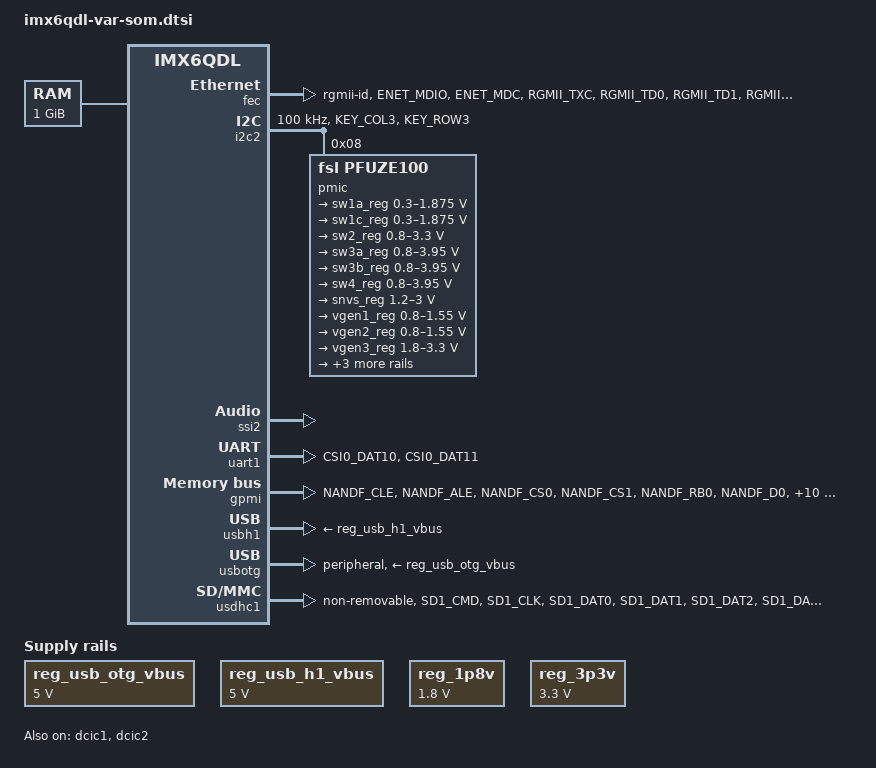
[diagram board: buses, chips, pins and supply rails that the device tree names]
/*
 * Copyright (C) 2015-2023 Variscite Ltd.
 *
 * This program is free software; you can redistribute it and/or modify
 * it under the terms of the GNU General Public License version 2 as
 * published by the Free Software Foundation.
 */

#include <dt-bindings/gpio/gpio.h>
#include <dt-bindings/input/input.h>
#include <dt-bindings/sound/fsl-imx-audmux.h>

/ {
	aliases {
		mxcfb0 = &mxcfb1;
		mxcfb1 = &mxcfb2;
		mxcfb2 = &mxcfb3;
		mxcfb3 = &mxcfb4;
/*
		mmc0 = &usdhc2;
		mmc1 = &usdhc1;
*/
	};

	chosen {
		stdout-path = &uart1;
	};

	memory: memory {
		reg = <0x10000000 0x40000000>;
	};

	regulators {
		compatible = "simple-bus";
		#address-cells = <1>;
		#size-cells = <0>;

		reg_usb_otg_vbus: regulator@0 {
			compatible = "regulator-fixed";
			reg = <0>;
			regulator-name = "usb_otg_vbus";
			regulator-min-microvolt = <5000000>;
			regulator-max-microvolt = <5000000>;
		};

		reg_usb_h1_vbus: regulator@1 {
			compatible = "regulator-fixed";
			reg = <1>;
			regulator-name = "usb_h1_vbus";
			regulator-min-microvolt = <5000000>;
			regulator-max-microvolt = <5000000>;
		};

		reg_1p8v: regulator@2 {
			compatible = "regulator-fixed";
			regulator-name = "1P8V";
			regulator-min-microvolt = <1800000>;
			regulator-max-microvolt = <1800000>;
			regulator-always-on;
		};

		reg_3p3v: regulator@3 {
			compatible = "regulator-fixed";
			regulator-name = "3P3V";
			regulator-min-microvolt = <3300000>;
			regulator-max-microvolt = <3300000>;
			regulator-always-on;
		};
	};

	mxcfb1: fb@0 {
		compatible = "fsl,mxc_sdc_fb";
		disp_dev = "ldb";
		default_bpp = <16>;
		int_clk = <0>;
		late_init = <0>;
		status = "disabled";
	};

	mxcfb2: fb@1 {
		compatible = "fsl,mxc_sdc_fb";
		disp_dev = "hdmi";
		interface_pix_fmt = "RGB24";
		mode_str ="1920x1080M@60";
		default_bpp = <24>;
		int_clk = <0>;
		late_init = <0>;
		status = "disabled";
	};

	mxcfb3: fb@2 {
		compatible = "fsl,mxc_sdc_fb";
		disp_dev = "lcd";
		interface_pix_fmt = "RGB565";
		mode_str ="CLAA-WVGA";
		default_bpp = <16>;
		int_clk = <0>;
		late_init = <0>;
		status = "disabled";
	};

	mxcfb4: fb@3 {
		compatible = "fsl,mxc_sdc_fb";
		disp_dev = "ldb";
		interface_pix_fmt = "RGB666";
		default_bpp = <16>;
		int_clk = <0>;
		late_init = <0>;
		status = "disabled";
	};
};

&reg_arm {
	vin-supply = <&sw1a_reg>;
};

&reg_pu {
	vin-supply = <&sw1c_reg>;
};

&reg_soc {
	vin-supply = <&sw1c_reg>;
};

&clks {
	assigned-clocks = <&clks IMX6QDL_CLK_LDB_DI0_SEL>,
			  <&clks IMX6QDL_CLK_LDB_DI1_SEL>;
	assigned-clock-parents = <&clks IMX6QDL_CLK_PLL2_PFD0_352M>,
				 <&clks IMX6QDL_CLK_PLL2_PFD0_352M>;
};


#if 0
&fec {
	pinctrl-names = "default";
	pinctrl-0 = <&pinctrl_enet_4>;
	phy-mode = "rgmii-id";
	phy-handle = <&ethphy>;
	phy-reset-on-resume;
	status = "okay";

	mdio {
		#address-cells = <1>;
		#size-cells = <0>;

		ethphy: ethernet-phy@7 {
			reg = <7>;
			compatible = "ethernet-phy-ieee802.3-c22";
			assigned-clocks = <&clks IMX6QDL_CLK_ENET_REF>;
			assigned-clock-rates = <125000000>;
			reset-gpios = <&gpio1 25 GPIO_ACTIVE_LOW>;
			reset-assert-us = <100000>;
		};
	};
};
#else
&fec {
	pinctrl-names = "default";
	pinctrl-0 = <&pinctrl_enet_4>;
	phy-mode = "rgmii-id";
	phy-reset-gpios = <&gpio1 25 GPIO_ACTIVE_LOW>;
	status = "okay";
};
#endif
&gpc {
	/* use ldo-bypass, u-boot will check it and configure */
	fsl,ldo-bypass = <1>;
};

&dcic1 {
	dcic_id = <0>;
	dcic_mux = "dcic-hdmi";
	status = "okay";
};

&dcic2 {
	dcic_id = <1>;
	dcic_mux = "dcic-lvds1";
	status = "okay";
};

&i2c2 {
	clock-frequency = <100000>;
	pinctrl-names = "default";
	pinctrl-0 = <&pinctrl_i2c2>;
	status = "okay";

	pmic: pfuze100@8 {
		compatible = "fsl,pfuze100";
		reg = <0x08>;
		pinctrl-names = "default";
		pinctrl-0 = <&pinctrl_pfuze100>;

		regulators {
			sw1a_reg: sw1ab {
				regulator-min-microvolt = <300000>;
				regulator-max-microvolt = <1875000>;
				regulator-boot-on;
				regulator-always-on;
				regulator-ramp-delay = <6250>;
			};

			sw1c_reg: sw1c {
				regulator-min-microvolt = <300000>;
				regulator-max-microvolt = <1875000>;
				regulator-boot-on;
				regulator-always-on;
				regulator-ramp-delay = <6250>;
			};

			sw2_reg: sw2 {
				regulator-min-microvolt = <800000>;
				regulator-max-microvolt = <3300000>;
				regulator-boot-on;
				regulator-always-on;
			};

			sw3a_reg: sw3a {
				regulator-min-microvolt = <800000>;
				regulator-max-microvolt = <3950000>;
				regulator-boot-on;
				regulator-always-on;
			};

			sw3b_reg: sw3b {
				regulator-min-microvolt = <800000>;
				regulator-max-microvolt = <3950000>;
				regulator-boot-on;
				regulator-always-on;
			};

			sw4_reg: sw4 {
				regulator-min-microvolt = <800000>;
				regulator-max-microvolt = <3950000>;
			};

			snvs_reg: vsnvs {
				regulator-min-microvolt = <1200000>;
				regulator-max-microvolt = <3000000>;
				regulator-boot-on;
				regulator-always-on;
			};

			vref_reg: vrefddr {
				regulator-boot-on;
				regulator-always-on;
			};

			vgen1_reg: vgen1 {
				regulator-min-microvolt = <800000>;
				regulator-max-microvolt = <1550000>;
			};

			vgen2_reg: vgen2 {
				regulator-min-microvolt = <800000>;
				regulator-max-microvolt = <1550000>;
			};

			vgen3_reg: vgen3 {
				regulator-min-microvolt = <1800000>;
				regulator-max-microvolt = <3300000>;
				regulator-always-on;
				regulator-boot-on;
			};

			vgen4_reg: vgen4 {
				regulator-min-microvolt = <1800000>;
				regulator-max-microvolt = <3300000>;
				regulator-always-on;
				regulator-boot-on;
			};

			vgen5_reg: vgen5 {
				regulator-min-microvolt = <1800000>;
				regulator-max-microvolt = <3300000>;
				regulator-always-on;
				regulator-boot-on;
			};

			vgen6_reg: vgen6 {
				regulator-min-microvolt = <2800000>;
				regulator-max-microvolt = <2800000>;
				regulator-always-on;
				regulator-boot-on;
			};
		};
	};
};

&iomuxc {
	pinctrl-names = "default";

	imx6qdl-var-som-mx6 {

		pinctrl_enet_4: enetgrp {
			fsl,pins = <
				MX6QDL_PAD_ENET_MDIO__ENET_MDIO		0x1b0b0
				MX6QDL_PAD_ENET_MDC__ENET_MDC		0x1b0b0
				MX6QDL_PAD_RGMII_TXC__RGMII_TXC		0x1b0b0
				MX6QDL_PAD_RGMII_TD0__RGMII_TD0		0x1b0b0
				MX6QDL_PAD_RGMII_TD1__RGMII_TD1		0x1b0b0
				MX6QDL_PAD_RGMII_TD2__RGMII_TD2		0x1b0b0
				MX6QDL_PAD_RGMII_TD3__RGMII_TD3		0x1b0b0
				MX6QDL_PAD_RGMII_TX_CTL__RGMII_TX_CTL	0x1b0b0
				MX6QDL_PAD_ENET_REF_CLK__ENET_TX_CLK	0x1b0b0
				MX6QDL_PAD_RGMII_RXC__RGMII_RXC		0x1b0b0
				MX6QDL_PAD_RGMII_RD0__RGMII_RD0		0x1b0b0
				MX6QDL_PAD_RGMII_RD1__RGMII_RD1		0x1b0b0
				MX6QDL_PAD_RGMII_RD2__RGMII_RD2		0x1b0b0
				MX6QDL_PAD_RGMII_RD3__RGMII_RD3		0x1b0b0
				MX6QDL_PAD_RGMII_RX_CTL__RGMII_RX_CTL	0x1b0b0
				MX6QDL_PAD_ENET_CRS_DV__GPIO1_IO25	0x1b0b0
			>;
		};

		pinctrl_gpmi_nand_v1: gpmi-nand-1 {
			fsl,pins = <
				MX6QDL_PAD_NANDF_CLE__NAND_CLE		0xb0b1
				MX6QDL_PAD_NANDF_ALE__NAND_ALE		0xb0b1
				MX6QDL_PAD_NANDF_CS0__NAND_CE0_B	0xb0b1
				MX6QDL_PAD_NANDF_CS1__NAND_CE1_B	0xb0b1
				MX6QDL_PAD_NANDF_RB0__NAND_READY_B	0xb0b1
				MX6QDL_PAD_NANDF_D0__NAND_DATA00	0xb0b1
				MX6QDL_PAD_NANDF_D1__NAND_DATA01	0xb0b1
				MX6QDL_PAD_NANDF_D2__NAND_DATA02	0xb0b1
				MX6QDL_PAD_NANDF_D3__NAND_DATA03	0xb0b1
				MX6QDL_PAD_NANDF_D4__NAND_DATA04	0xb0b1
				MX6QDL_PAD_NANDF_D5__NAND_DATA05	0xb0b1
				MX6QDL_PAD_NANDF_D6__NAND_DATA06	0xb0b1
				MX6QDL_PAD_NANDF_D7__NAND_DATA07	0xb0b1
				MX6QDL_PAD_SD4_CMD__NAND_RE_B		0xb0b1
				MX6QDL_PAD_SD4_CLK__NAND_WE_B		0xb0b1
				MX6QDL_PAD_NANDF_WP_B__NAND_WP_B	0xb0b1
			>;
		};

		pinctrl_i2c2: i2c2grp {
			fsl,pins = <
				MX6QDL_PAD_KEY_COL3__I2C2_SCL		0x4001b8b1
				MX6QDL_PAD_KEY_ROW3__I2C2_SDA		0x4001b8b1
			>;
		};

		pinctrl_pfuze100: pfuze100grp {
			fsl,pins = <
				/* PMIC INT */
				MX6QDL_PAD_GPIO_17__GPIO7_IO12		0x80000000
			>;
		};

		/* Linux Console */
		pinctrl_uart1: uart1grp { /* RX/TX only */
			fsl,pins = <
				MX6QDL_PAD_CSI0_DAT10__UART1_TX_DATA	0x1b0b1
				MX6QDL_PAD_CSI0_DAT11__UART1_RX_DATA	0x1b0b1
			>;
		};

		pinctrl_usdhc1: usdhc1grp {
			fsl,pins = <
				MX6QDL_PAD_SD1_CMD__SD1_CMD		0x17059
				MX6QDL_PAD_SD1_CLK__SD1_CLK		0x10059
				MX6QDL_PAD_SD1_DAT0__SD1_DATA0		0x17059
				MX6QDL_PAD_SD1_DAT1__SD1_DATA1		0x17059
				MX6QDL_PAD_SD1_DAT2__SD1_DATA2		0x17059
				MX6QDL_PAD_SD1_DAT3__SD1_DATA3		0x17059
			>;
		};

		pinctrl_usdhc2: usdhc2grp {
			fsl,pins = <
				MX6QDL_PAD_SD2_CMD__SD2_CMD		0x17059
				MX6QDL_PAD_SD2_CLK__SD2_CLK		0x10059
				MX6QDL_PAD_SD2_DAT0__SD2_DATA0		0x17059
				MX6QDL_PAD_SD2_DAT1__SD2_DATA1		0x17059
				MX6QDL_PAD_SD2_DAT2__SD2_DATA2		0x17059
				MX6QDL_PAD_SD2_DAT3__SD2_DATA3		0x17059
			>;
		};
	};
};

&ssi2 {
	status = "okay";
};

&snvs_poweroff {
	status = "okay";
};

/* Console Uart */
&uart1 {
	pinctrl-names = "default";
	pinctrl-0 = <&pinctrl_uart1>;
	status = "okay";
};

&gpmi {
	pinctrl-names = "default";
	pinctrl-0 = <&pinctrl_gpmi_nand_v1>;
	fsl,legacy-bch-geometry;
	status = "okay";

	/* a 2 MiB partition */
	partition@0 {
		label = "spl";
		reg = <0x00000000 0x00200000>;
	};

	/* a 2 MiB partition */
	partition@1 {
		label = "bootloader";
		reg = <0x00200000 0x00200000>;
	};

	/* an 12 MiB partition */
	partition@2 {
		label = "kernel";
		reg = <0x00400000 0x00c00000>;
	};

	/* a 1008 MiB partition */
	partition@3 {
		label = "rootfs";
		reg = <0x01000000 0x3f000000>;
	};
};

&usbh1 {
	vbus-supply = <&reg_usb_h1_vbus>;
	status = "okay";
};

&usbotg {
	vbus-supply = <&reg_usb_otg_vbus>;
	disable-over-current;
	/* dr_mode: One of "host", "peripheral" or "otg". Defaults to "otg" */
	dr_mode = "peripheral";
	hnp-srp-disable;
	status = "okay";
};

&usdhc1 {	/* uSDHC1, eMMC */
	pinctrl-names = "default";
	pinctrl-0 = <&pinctrl_usdhc1>;
	non-removable;
	status = "okay";
};

&snvs_rtc {
	status = "disabled";
};
